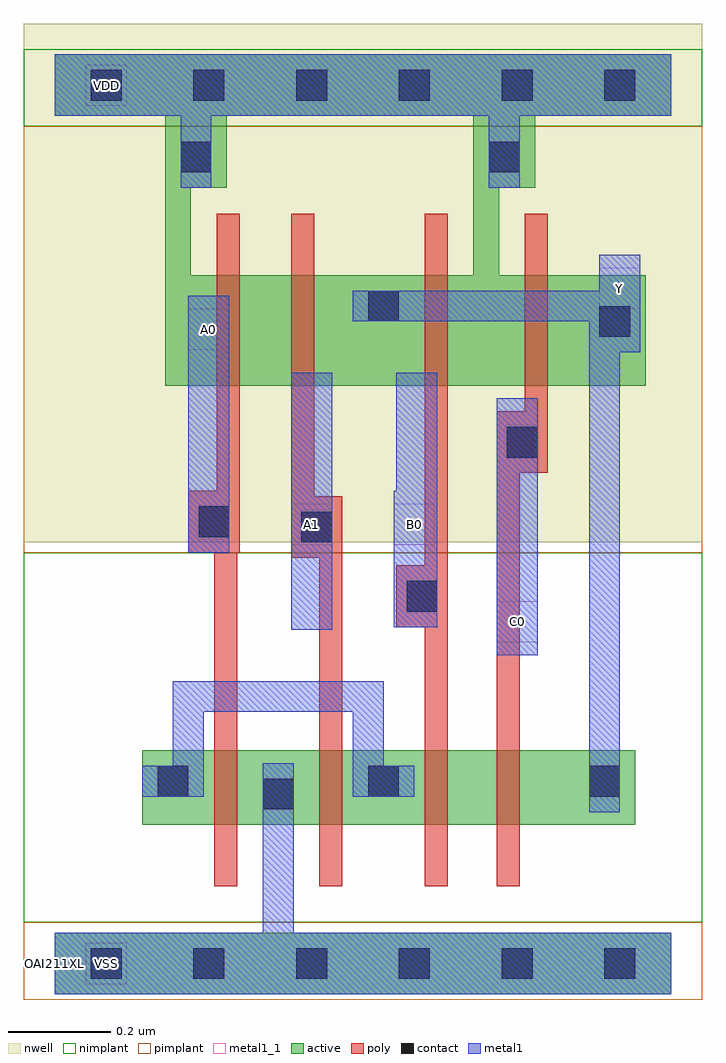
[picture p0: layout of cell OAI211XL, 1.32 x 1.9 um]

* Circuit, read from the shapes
.subckt OAI211XL A0 A1 B0 C0 VDD VSS Y
M1 VSS A0 n1 VSS nfet w=0.145u l=0.045u
M2 n1 A1 VSS VSS nfet w=0.145u l=0.045u
M3 n2 B0 n1 VSS nfet w=0.145u l=0.045u
M4 Y C0 n2 VSS nfet w=0.145u l=0.045u
M5 n3 A0 VDD VDD pfet w=0.215u l=0.045u
M6 Y A1 n3 VDD pfet w=0.215u l=0.045u
M7 VDD B0 Y VDD pfet w=0.215u l=0.045u
M8 Y C0 VDD VDD pfet w=0.215u l=0.045u
.ends

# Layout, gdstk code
import gdstk
lib = gdstk.Library(unit=1e-6, precision=5e-10)
def R(c, l, rs):  # rectangles x0, y0, x1, y1
    for r in rs: c.add(gdstk.rectangle(r[:2], r[2:], *l))
def A(c, l, x, y, w, h, nx, ny, dx, dy):  # array of equal rectangles
    R(c, l, [(x+i*dx, y+j*dy, x+i*dx+w, y+j*dy+h) for i in range(nx) for j in range(ny)])
def P(c, l, *ps):  # polygons
    for p in ps: c.add(gdstk.Polygon(p, *l))
active = (1, 0)
nwell = (2, 0)
poly = (3, 0)
nimplant = (4, 0)
pimplant = (5, 0)
contact = (6, 0)
metal1 = (7, 0)
metal1_1 = (7, 1)

oai211xl = lib.new_cell('OAI211XL')
R(oai211xl, active, [(0,-0.06,1.2,0.06), (0.17,0.27,1.13,0.415)])
P(oai211xl, active, [(0,1.77),(1.2,1.77),(1.2,1.65),(0.935,1.65),(0.935,1.51),(0.865,1.51),(0.865,1.34),(1.15,1.34),(1.15,1.125),(0.215,1.125),(0.215,1.65),(0.335,1.65),(0.335,1.51),(0.265,1.51),(0.265,1.34),(0.815,1.34),(0.815,1.65),(0,1.65)])
R(oai211xl, nwell, [(-0.06,0.82,1.26,1.83)])
P(oai211xl, poly, [(0.315,1.46),(0.36,1.46),(0.36,0.8),(0.355,0.8),(0.355,0.15),(0.31,0.15),(0.31,0.8),(0.26,0.8),(0.26,0.92),(0.315,0.92)],
  [(0.46,1.46),(0.505,1.46),(0.505,0.91),(0.56,0.91),(0.56,0.15),(0.515,0.15),(0.515,0.79),(0.46,0.79)],
  [(0.72,1.46),(0.765,1.46),(0.765,0.15),(0.72,0.15),(0.72,0.655),(0.665,0.655),(0.665,0.775),(0.72,0.775)],
  [(0.915,1.46),(0.96,1.46),(0.96,0.955),(0.905,0.955),(0.905,0.15),(0.86,0.15),(0.86,1.075),(0.915,1.075)])
R(oai211xl, nimplant, [(-0.06,0.08,1.26,0.8), (-0.06,1.63,1.26,1.78)])
R(oai211xl, pimplant, [(-0.06,-0.07,1.26,0.08), (-0.06,0.8,1.26,1.63)])
A(oai211xl, contact, 0.07, -0.03, 0.06, 0.06, 6, 2, 0.2, 1.71)
R(oai211xl, contact, [(0.405,0.3,0.465,0.36), (0.2,0.325,0.26,0.385), (0.61,0.325,0.67,0.385), (1.04,0.325,1.1,0.385), (0.685,0.685,0.745,0.745), (0.48,0.82,0.54,0.88), (0.28,0.83,0.34,0.89), (0.88,0.985,0.94,1.045), (1.06,1.22,1.12,1.28), (0.61,1.25,0.67,1.31), (0.245,1.54,0.305,1.6), (0.845,1.54,0.905,1.6)])
R(oai211xl, metal1, [(0.86,0.6,0.94,1.1), (0.46,0.65,0.54,1.15), (0.26,0.8,0.34,1.3)])
P(oai211xl, metal1, [(0,1.77),(1.2,1.77),(1.2,1.65),(0.905,1.65),(0.905,1.51),(0.845,1.51),(0.845,1.65),(0.305,1.65),(0.305,1.51),(0.245,1.51),(0.245,1.65),(0,1.65)],
  [(1.06,1.38),(1.14,1.38),(1.14,1.19),(1.1,1.19),(1.1,0.295),(1.04,0.295),(1.04,1.25),(0.58,1.25),(0.58,1.31),(1.06,1.31)],
  [(0.665,1.15),(0.745,1.15),(0.745,0.655),(0.66,0.655),(0.66,0.92),(0.665,0.92)],
  [(0.23,0.55),(0.64,0.55),(0.64,0.385),(0.7,0.385),(0.7,0.325),(0.58,0.325),(0.58,0.49),(0.29,0.49),(0.29,0.325),(0.17,0.325),(0.17,0.385),(0.23,0.385)],
  [(0.405,0.39),(0.465,0.39),(0.465,0.06),(1.2,0.06),(1.2,-0.06),(0,-0.06),(0,0.06),(0.405,0.06)])
R(oai211xl, metal1_1, [(0.06,-0.04,0.14,0.04), (0.86,0.625,0.94,0.705), (0.46,0.815,0.54,0.895), (0.66,0.815,0.74,0.895), (0.26,1.195,0.34,1.275), (1.06,1.275,1.14,1.355), (0.06,1.67,0.14,1.75)])
oai211xl.add(gdstk.Label('Y', (1.1,1.315), layer=7, texttype=1))
oai211xl.add(gdstk.Label('A0', (0.3,1.235), layer=7, texttype=1))
oai211xl.add(gdstk.Label('A1', (0.5,0.855), layer=7, texttype=1))
oai211xl.add(gdstk.Label('B0', (0.7,0.855), layer=7, texttype=1))
oai211xl.add(gdstk.Label('C0', (0.9,0.665), layer=7, texttype=1))
oai211xl.add(gdstk.Label('VDD', (0.1,1.71), layer=7, texttype=1))
oai211xl.add(gdstk.Label('VSS', (0.1,0), layer=7, texttype=1))
oai211xl.add(gdstk.Label('OAI211XL', (0,0), layer=63, texttype=0))

lib.write_gds('OAI211XL.gds')
